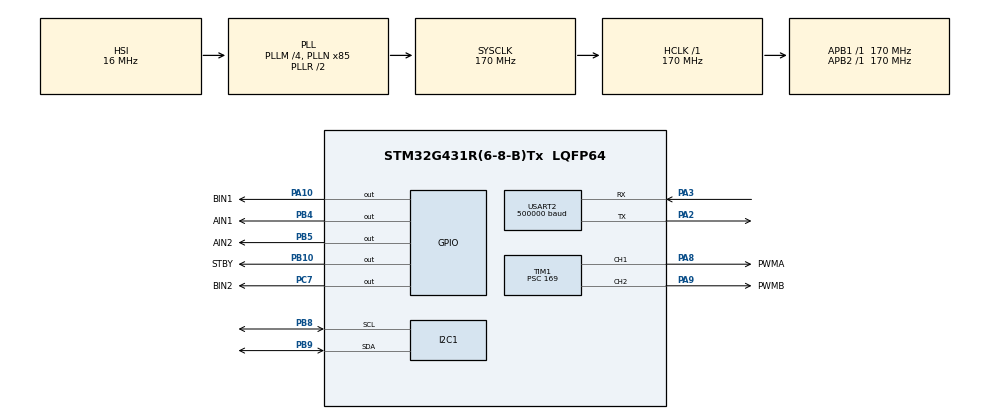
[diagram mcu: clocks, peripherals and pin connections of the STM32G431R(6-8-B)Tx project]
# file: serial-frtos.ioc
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CRC.CRCLength=CRC_POLYLENGTH_16B
CRC.DefaultPolynomialUse=DEFAULT_POLYNOMIAL_DISABLE
CRC.GeneratingPolynomial=X15+X2+X0
Dma.I2C1_RX.2.Direction=DMA_PERIPH_TO_MEMORY
Dma.I2C1_RX.2.EventEnable=DISABLE
Dma.I2C1_RX.2.Instance=DMA1_Channel3
Dma.I2C1_RX.2.MemDataAlignment=DMA_MDATAALIGN_BYTE
Dma.I2C1_RX.2.MemInc=DMA_MINC_ENABLE
Dma.I2C1_RX.2.Mode=DMA_NORMAL
Dma.I2C1_RX.2.PeriphDataAlignment=DMA_PDATAALIGN_BYTE
Dma.I2C1_RX.2.PeriphInc=DMA_PINC_DISABLE
Dma.I2C1_RX.2.Polarity=HAL_DMAMUX_REQ_GEN_RISING
Dma.I2C1_RX.2.Priority=DMA_PRIORITY_LOW
Dma.I2C1_RX.2.RequestNumber=1
Dma.I2C1_RX.2.SignalID=NONE
Dma.I2C1_RX.2.SyncEnable=DISABLE
Dma.I2C1_RX.2.SyncPolarity=HAL_DMAMUX_SYNC_NO_EVENT
Dma.I2C1_RX.2.SyncRequestNumber=1
Dma.I2C1_RX.2.SyncSignalID=NONE
Dma.I2C1_TX.3.Direction=DMA_MEMORY_TO_PERIPH
Dma.I2C1_TX.3.EventEnable=DISABLE
Dma.I2C1_TX.3.Instance=DMA1_Channel4
Dma.I2C1_TX.3.MemDataAlignment=DMA_MDATAALIGN_BYTE
Dma.I2C1_TX.3.MemInc=DMA_MINC_ENABLE
Dma.I2C1_TX.3.Mode=DMA_NORMAL
Dma.I2C1_TX.3.PeriphDataAlignment=DMA_PDATAALIGN_BYTE
Dma.I2C1_TX.3.PeriphInc=DMA_PINC_DISABLE
Dma.I2C1_TX.3.Polarity=HAL_DMAMUX_REQ_GEN_RISING
Dma.I2C1_TX.3.Priority=DMA_PRIORITY_LOW
Dma.I2C1_TX.3.RequestNumber=1
Dma.I2C1_TX.3.SignalID=NONE
Dma.I2C1_TX.3.SyncEnable=DISABLE
Dma.I2C1_TX.3.SyncPolarity=HAL_DMAMUX_SYNC_NO_EVENT
Dma.I2C1_TX.3.SyncRequestNumber=1
Dma.I2C1_TX.3.SyncSignalID=NONE
Dma.Request0=USART2_RX
Dma.Request1=USART2_TX
Dma.Request2=I2C1_RX
Dma.Request3=I2C1_TX
Dma.USART2_RX.0.Direction=DMA_PERIPH_TO_MEMORY
Dma.USART2_RX.0.EventEnable=DISABLE
Dma.USART2_RX.0.Instance=DMA1_Channel1
Dma.USART2_RX.0.MemDataAlignment=DMA_MDATAALIGN_BYTE
Dma.USART2_RX.0.MemInc=DMA_MINC_ENABLE
Dma.USART2_RX.0.Mode=DMA_CIRCULAR
Dma.USART2_RX.0.PeriphDataAlignment=DMA_PDATAALIGN_BYTE
Dma.USART2_RX.0.PeriphInc=DMA_PINC_DISABLE
Dma.USART2_RX.0.Polarity=HAL_DMAMUX_REQ_GEN_RISING
Dma.USART2_RX.0.Priority=DMA_PRIORITY_LOW
Dma.USART2_RX.0.RequestNumber=1
Dma.USART2_RX.0.SignalID=NONE
Dma.USART2_RX.0.SyncEnable=DISABLE
Dma.USART2_RX.0.SyncPolarity=HAL_DMAMUX_SYNC_NO_EVENT
Dma.USART2_RX.0.SyncRequestNumber=1
Dma.USART2_RX.0.SyncSignalID=NONE
Dma.USART2_TX.1.Direction=DMA_MEMORY_TO_PERIPH
Dma.USART2_TX.1.EventEnable=DISABLE
Dma.USART2_TX.1.Instance=DMA1_Channel2
Dma.USART2_TX.1.MemDataAlignment=DMA_MDATAALIGN_BYTE
Dma.USART2_TX.1.MemInc=DMA_MINC_ENABLE
Dma.USART2_TX.1.Mode=DMA_NORMAL
Dma.USART2_TX.1.PeriphDataAlignment=DMA_PDATAALIGN_BYTE
Dma.USART2_TX.1.PeriphInc=DMA_PINC_DISABLE
Dma.USART2_TX.1.Polarity=HAL_DMAMUX_REQ_GEN_RISING
Dma.USART2_TX.1.Priority=DMA_PRIORITY_LOW
Dma.USART2_TX.1.RequestNumber=1
Dma.USART2_TX.1.SignalID=NONE
Dma.USART2_TX.1.SyncEnable=DISABLE
Dma.USART2_TX.1.SyncPolarity=HAL_DMAMUX_SYNC_NO_EVENT
Dma.USART2_TX.1.SyncRequestNumber=1
Dma.USART2_TX.1.SyncSignalID=NONE
FREERTOS.HEAP_NUMBER=1
FREERTOS.Tasks01=defaultTask,24,1024,StartDefaultTask,Default,NULL,Static,defaultTaskBuffer,defaultTaskControlBlock;madgwickTask,40,512,StartMadgwickTask,Default,NULL,Dynamic,NULL,NULL;motorCtrlTask,24,128,StartMotorCtrlTask,Default,NULL,Dynamic,NULL,NULL
FREERTOS.configCHECK_FOR_STACK_OVERFLOW=2
FREERTOS.configENABLE_FPU=1
FREERTOS.configTOTAL_HEAP_SIZE=12288
FREERTOS.configUSE_IDLE_HOOK=1
FREERTOS.configUSE_NEWLIB_REENTRANT=0
FREERTOS.configUSE_STATS_FORMATTING_FUNCTIONS=0
FREERTOS.configUSE_TRACE_FACILITY=1
I2C1.Analog_Filter=I2C_ANALOGFILTER_ENABLE
I2C1.CustomTiming=Disabled
I2C1.I2C_Rise_Time=1000
I2C1.Timing=0x10901E24
Mcu.Family=STM32G4
Mcu.Name=STM32G431R(6-8-B)Tx
Mcu.Package=LQFP64
NUCLEO-G431RB.BUTTON=1
NUCLEO-G431RB.Bsp_Common_DEMO=true
NUCLEO-G431RB.LD1=true
NUCLEO-G431RB.VCP=false
NVIC.DMA1_Channel1_IRQn=true\:5\:0\:false\:false\:true\:true\:false\:true\:true
NVIC.DMA1_Channel2_IRQn=true\:5\:0\:false\:false\:true\:true\:false\:true\:true
NVIC.DMA1_Channel3_IRQn=true\:5\:0\:false\:false\:true\:true\:false\:true\:true
NVIC.DMA1_Channel4_IRQn=true\:5\:0\:false\:false\:true\:true\:false\:true\:true
NVIC.EXTI15_10_IRQn=true\:5\:0\:false\:false\:true\:true\:false\:true\:true
NVIC.I2C1_ER_IRQn=true\:5\:0\:false\:false\:true\:true\:true\:true\:true
NVIC.I2C1_EV_IRQn=true\:5\:0\:false\:false\:true\:true\:true\:true\:true
NVIC.PriorityGroup=NVIC_PRIORITYGROUP_4
NVIC.TIM3_IRQn=true\:5\:0\:false\:false\:true\:true\:true\:true\:true
NVIC.TIM6_DAC_IRQn=true\:0\:0\:true\:false\:true\:false\:false\:true\:true
NVIC.TimeBase=TIM6_DAC_IRQn
NVIC.TimeBaseIP=TIM6
NVIC.USART2_IRQn=true\:5\:0\:false\:false\:true\:true\:true\:true\:true
PA10.GPIO_Label=BIN1
PA10.PinState=GPIO_PIN_RESET
PA10.Signal=GPIO_Output
PA13.GPIO_Label=T_SWDIO
PA13.Mode=Serial_Wire
PA13.Signal=SYS_JTMS-SWDIO
PA14.GPIO_Label=T_SWCLK
PA14.Mode=Serial_Wire
PA14.Signal=SYS_JTCK-SWCLK
PA2.Mode=Asynchronous
PA2.Signal=USART2_TX
PA3.Mode=Asynchronous
PA3.Signal=USART2_RX
PA8.GPIO_Label=PWMA
PA8.Signal=S_TIM1_CH1
PA9.GPIO_Label=PWMB
PA9.Signal=S_TIM1_CH2
PB10.GPIO_Label=STBY
PB10.PinState=GPIO_PIN_SET
PB10.Signal=GPIO_Output
PB3.GPIO_Label=T_SWO
PB3.Signal=SYS_JTDO-SWO
PB4.GPIO_Label=AIN1
PB4.Signal=GPIO_Output
PB5.GPIO_Label=AIN2
PB5.Signal=GPIO_Output
PB8-BOOT0.GPIO_Mode=GPIO_MODE_AF_OD
PB8-BOOT0.GPIO_Pu=GPIO_NOPULL
PB8-BOOT0.GPIO_Speed=GPIO_SPEED_FREQ_HIGH
PB8-BOOT0.Mode=I2C
PB8-BOOT0.Signal=I2C1_SCL
PB9.GPIO_Pu=GPIO_NOPULL
PB9.GPIO_Speed=GPIO_SPEED_FREQ_HIGH
PB9.Mode=I2C
PB9.Signal=I2C1_SDA
PC14-OSC32_IN.GPIO_Label=RCC_OSC32_OUT
PC14-OSC32_IN.Signal=RCC_OSC32_IN
PC15-OSC32_OUT.GPIO_Label=RCC_OSC32_OUT
PC15-OSC32_OUT.Signal=RCC_OSC32_OUT
PC7.GPIO_Label=BIN2
PC7.Signal=GPIO_Output
PF0-OSC_IN.GPIO_Label=RCC_OSC_IN
PF0-OSC_IN.Signal=RCC_OSC_IN
PF1-OSC_OUT.GPIO_Label=RCC_OSC_OUT
PF1-OSC_OUT.Signal=RCC_OSC_OUT
ProjectManager.HeapSize=0x200
ProjectManager.StackSize=0x400
ProjectManager.TargetToolchain=CMake
RCC.ADC12Freq_Value=170000000
RCC.AHBFreq_Value=170000000
RCC.APB1Freq_Value=170000000
RCC.APB1TimFreq_Value=170000000
RCC.APB2Freq_Value=170000000
RCC.APB2TimFreq_Value=170000000
RCC.CK48CLockSelection=RCC_USBCLKSOURCE_HSI48
RCC.CortexFreq_Value=170000000
RCC.EXTERNAL_CLOCK_VALUE=12288000
RCC.HCLKFreq_Value=170000000
RCC.HSE_VALUE=8000000
RCC.HSI48_VALUE=48000000
RCC.HSI_VALUE=16000000
RCC.I2C1CLockSelection=RCC_I2C1CLKSOURCE_HSI
RCC.LSE_VALUE=32768
RCC.PLLM=RCC_PLLM_DIV4
RCC.PLLN=85
RCC.RTCClockSelection=RCC_RTCCLKSOURCE_LSE
RCC.SYSCLKFreq_VALUE=170000000
RCC.SYSCLKSource=RCC_SYSCLKSOURCE_PLLCLK
RCC.USART2CLockSelection=RCC_USART2CLKSOURCE_SYSCLK
RCC.USBFreq_Value=48000000
RCC.VCOOutputFreq_Value=340000000
SH.S_TIM1_CH1.0=TIM1_CH1,PWM Generation1 CH1
SH.S_TIM1_CH2.0=TIM1_CH2,PWM Generation2 CH2
TIM1.AutomaticOutput=TIM_AUTOMATICOUTPUT_ENABLE
TIM1.Channel-PWM\ Generation1\ CH1=TIM_CHANNEL_1
TIM1.Channel-PWM\ Generation2\ CH2=TIM_CHANNEL_2
TIM1.PeriodNoDither=99
TIM1.Prescaler=169
TIM3.PeriodNoDither=961
TIM3.Prescaler=1699
USART2.BaudRate=500000
USART2.VirtualMode-Asynchronous=VM_ASYNC
VP_CORDIC_VS_CORDIC.Mode=CORDIC_Activate
VP_CRC_VS_CRC.Mode=CRC_Activate
VP_FREERTOS_VS_CMSIS_V2.Mode=CMSIS_V2
VP_NUCLEO-G431RB_VS_BSP_COMMON.Mode=COMMON
VP_SYS_VS_DBSignals.Mode=DisableDeadBatterySignals
VP_SYS_VS_tim6.Mode=TIM6
VP_TIM1_VS_ClockSourceINT.Mode=Internal
VP_TIM3_VS_ClockSourceINT.Mode=Internal
board=NUCLEO-G431RB

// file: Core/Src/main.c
/* USER CODE BEGIN Header */
/**
  ******************************************************************************
  * @file           : main.c
  * @brief          : Main program body
  ******************************************************************************
  * @attention
  *
  * Copyright (c) 2026 STMicroelectronics.
  * All rights reserved.
  *
  * This software is licensed under terms that can be found in the LICENSE file
  * in the root directory of this software component.
  * If no LICENSE file comes with this software, it is provided AS-IS.
  *
  ******************************************************************************
  */
/* USER CODE END Header */
#include "main.h"
#include "cmsis_os.h"
#include "cordic.h"
#include "crc.h"
#include "dma.h"
#include "i2c.h"
#include "tim.h"
#include "usart.h"
#include "gpio.h"

/* USER CODE BEGIN Includes */
#include "IMUinfo.h"
/* USER CODE END Includes */

/* USER CODE BEGIN PD */
#define SERIAL_RX_BUF_SIZE 64
/* USER CODE END PD */

__IO uint32_t BspButtonState = BUTTON_RELEASED;

/* USER CODE BEGIN PV */
uint8_t imu_buf[12]; // 6 bytes for Gyro, 6 for Accel
uint8_t mag_buf[6];  // 6 bytes for Mag
volatile uint8_t mag_pending = 0;
extern osThreadId_t madgwickTaskHandle; // IMU data callback - from app_freertos.c
extern osThreadId_t motorCtrlTaskHandle; // Motor control task handle - from app_freertos.c
extern uint8_t motor_rx_buf[SERIAL_RX_BUF_SIZE]; // UART reception buffer for motor control commands - from app_freertos.c
/* USER CODE END PV */

void SystemClock_Config(void);
void MX_FREERTOS_Init(void);

int main(void)
{

  /* MCU Configuration--------------------------------------------------------*/

  /* Reset of all peripherals, Initializes the Flash interface and the Systick. */
  HAL_Init();

  /* Configure the system clock */
  SystemClock_Config();

  /* Initialize all configured peripherals */
  MX_GPIO_Init();
  MX_DMA_Init();
  MX_TIM1_Init();
  MX_USART2_UART_Init();
  MX_CORDIC_Init();
  MX_CRC_Init();
  MX_I2C1_Init();
  MX_TIM3_Init();
  /* USER CODE BEGIN 2 */
  // testing code below
  //uncommend the line below to restore non-testing code
  // HAL_TIM_Base_Start_IT(&htim3); // Start timer for periodic sensor reading (IMU) task
  HAL_UARTEx_ReceiveToIdle_DMA(&huart2, motor_rx_buf, SERIAL_RX_BUF_SIZE); // Start UART DMA reception for motor control commands
  __HAL_DMA_DISABLE_IT(huart2.hdmarx, DMA_IT_HT); // Disable half-transfer
  /* USER CODE END 2 */

  /* Init scheduler */
  osKernelInitialize();  /* Call init function for freertos objects (in cmsis_os2.c) */
  MX_FREERTOS_Init();

  /* Initialize leds */
  BSP_LED_Init(LED_GREEN);

  /* Initialize USER push-button, will be used to trigger an interrupt each time it's pressed.*/
  BSP_PB_Init(BUTTON_USER, BUTTON_MODE_EXTI);

  /* USER CODE BEGIN BSP */

  /* -- Sample board code to switch on leds ---- */
  BSP_LED_On(LED_GREEN);

  /* USER CODE END BSP */

  /* Start scheduler */
  osKernelStart();

  /* We should never get here as control is now taken by the scheduler */

  /* Infinite loop */
  /* USER CODE BEGIN WHILE */
  while (1)
  {

    /* -- Sample board code for User push-button in interrupt mode ---- */
    if (BspButtonState == BUTTON_PRESSED)
    {
      /* Update button state */
      BspButtonState = BUTTON_RELEASED;
      /* -- Sample board code to toggle leds ---- */
      BSP_LED_Toggle(LED_GREEN);

      /* ..... Perform your action ..... */
    }
    /* USER CODE END WHILE */

  }
}

void SystemClock_Config(void)
{
  RCC_OscInitTypeDef RCC_OscInitStruct = {0};
  RCC_ClkInitTypeDef RCC_ClkInitStruct = {0};

  /** Configure the main internal regulator output voltage
  */
  HAL_PWREx_ControlVoltageScaling(PWR_REGULATOR_VOLTAGE_SCALE1_BOOST);

  /** Initializes the RCC Oscillators according to the specified parameters
  * in the RCC_OscInitTypeDef structure.
  */
  RCC_OscInitStruct.OscillatorType = RCC_OSCILLATORTYPE_HSI;
  RCC_OscInitStruct.HSIState = RCC_HSI_ON;
  RCC_OscInitStruct.HSICalibrationValue = RCC_HSICALIBRATION_DEFAULT;
  RCC_OscInitStruct.PLL.PLLState = RCC_PLL_ON;
  RCC_OscInitStruct.PLL.PLLSource = RCC_PLLSOURCE_HSI;
  RCC_OscInitStruct.PLL.PLLM = RCC_PLLM_DIV4;
  RCC_OscInitStruct.PLL.PLLN = 85;
  RCC_OscInitStruct.PLL.PLLP = RCC_PLLP_DIV2;
  RCC_OscInitStruct.PLL.PLLQ = RCC_PLLQ_DIV2;
  RCC_OscInitStruct.PLL.PLLR = RCC_PLLR_DIV2;
  if (HAL_RCC_OscConfig(&RCC_OscInitStruct) != HAL_OK)
  {
    Error_Handler();
  }

  /** Initializes the CPU, AHB and APB buses clocks
  */
  RCC_ClkInitStruct.ClockType = RCC_CLOCKTYPE_HCLK|RCC_CLOCKTYPE_SYSCLK
                              |RCC_CLOCKTYPE_PCLK1|RCC_CLOCKTYPE_PCLK2;
  RCC_ClkInitStruct.SYSCLKSource = RCC_SYSCLKSOURCE_PLLCLK;
  RCC_ClkInitStruct.AHBCLKDivider = RCC_SYSCLK_DIV1;
  RCC_ClkInitStruct.APB1CLKDivider = RCC_HCLK_DIV1;
  RCC_ClkInitStruct.APB2CLKDivider = RCC_HCLK_DIV1;

  if (HAL_RCC_ClockConfig(&RCC_ClkInitStruct, FLASH_LATENCY_4) != HAL_OK)
  {
    Error_Handler();
  }
}

/* USER CODE BEGIN 4 */
void* __wrap_malloc(size_t size) { return pvPortMalloc(size); }
void __wrap_free(void* ptr) { vPortFree(ptr); }

/**
  * @brief Override the __weak HAL function to wake our Madgwick Task
  */
// Note: Changed from MemRxCplt to MasterRxCplt to match Master_Receive_DMA
void HAL_I2C_MasterRxCpltCallback(I2C_HandleTypeDef *hi2c)
{
  static uint8_t mag_counter = 0;

  if (hi2c->Instance == I2C1)
  {
    BaseType_t xHigherPriorityTaskWoken = pdFALSE;

    //  --- CASE A: IMU Read Finished (12 bytes) ---
    if (hi2c->XferSize == 12) {
        mag_counter++;

        if (mag_counter < 10) {
          xTaskNotifyFromISR(madgwickTaskHandle, DATA_READY_6DOF, eSetValueWithOverwrite, &xHigherPriorityTaskWoken);
        } else {
          mag_counter = 0;
          mag_pending = 1; // Lock the state: we are now doing a Mag read

          // start mag read
          // LIS3MDL_reg (reg addr 0x28) | 0x80 (auto-increment bit set) to read all 6 bytes in one go
          static uint8_t mag_addr_auto = 0x28 | 0x80;
          if (HAL_I2C_Master_Transmit(&hi2c1, LIS3MDL_sADDR, &mag_addr_auto, 1, 10) == HAL_OK) {
              // 2. Start the DMA Receive (Non-blocking)
              // When THIS finishes, this Callback will fire again with hi2c->XferSize == 6
              HAL_I2C_Master_Receive_DMA(&hi2c1, LIS3MDL_sADDR, mag_buf, 6);
          } else {
              mag_pending = 0; // If Transmit fails, reset the lock so we don't hang
              // Still signal 6-DOF update so we don't lose IMU data
              xTaskNotifyFromISR(madgwickTaskHandle, DATA_READY_6DOF, eSetValueWithOverwrite, &xHigherPriorityTaskWoken);
          }
        }
    }
    //  --- CASE B: Magnetometer Read Finished (6 bytes) ---
    else if (hi2c->XferSize == 6) {
      mag_pending = 0; // Unlock the state: Mag read is done
      // Signal 9-DOF and wake task
      xTaskNotifyFromISR(madgwickTaskHandle, DATA_READY_9DOF, eSetValueWithOverwrite, &xHigherPriorityTaskWoken);
    }

    /* Force a context switch if MadgwickTask is higher priority
      than the task the CPU was running when the I2C finished. */
    portYIELD_FROM_ISR(xHigherPriorityTaskWoken);
  }
}

// This triggers automatically when the Address Write finishes
void HAL_I2C_MasterTxCpltCallback(I2C_HandleTypeDef *hi2c) {
    if (hi2c->Instance == I2C1) {
        // Start reading 12 bytes: Accel (6) + Gyro (6)
        HAL_I2C_Master_Receive_DMA(hi2c, LSM6DSOX_sADDR, imu_buf, 12);
    }
}

// this is called when the UART line goes IDLE (end of packet)
void HAL_UARTEx_RxEventCallback(UART_HandleTypeDef *huart, uint16_t Size) {
  static uint16_t old_pos = 0;
    if (huart->Instance == USART2) {
        // Process the received command in uart_rx_buf here
        // Size parameter tells you how many bytes were received before the IDLE event
        // You can parse commands and set motor speeds accordingly
      // Notify the Motor Task that data is ready
      BaseType_t xHigherPriorityTaskWoken = pdFALSE;

      // pass the size (num of Bytes) as the notification value
      xTaskNotifyFromISR((TaskHandle_t)motorCtrlTaskHandle,
                           (uint32_t)old_pos,
                           eSetValueWithOverwrite,
                           &xHigherPriorityTaskWoken);

      old_pos = Size; // store current position for next time
      // context switch if needed so the Motor Task runs immediately
      portYIELD_FROM_ISR(xHigherPriorityTaskWoken);
    }
}

/* USER CODE END 4 */

void HAL_TIM_PeriodElapsedCallback(TIM_HandleTypeDef *htim)
{
  if (htim->Instance == TIM6)
  {
    HAL_IncTick();
  }
  /* USER CODE BEGIN Callback 1 */
  // Add your IMU Trigger logic here
  if (htim->Instance == TIM3)
  {
    // Only trigger if a Magnetometer read isn't currently hogging the bus
    if (!mag_pending) {
      // Start I2C DMA Read at 0x22 (OUTX_L_A) to get Accel (6 bytes) + Gyro (6 bytes)
      // Step 1: Set the pointer with a CLEAN STOP (No Repeated Start)
      // We use a small timeout (10ms) because this is only 1 byte.
      static uint8_t reg_addr = 0x22;
      if (HAL_I2C_Master_Transmit(&hi2c1, LSM6DSOX_sADDR, &reg_addr, 1, 10) == HAL_OK) {
        // Step 2: Now pull the 12 bytes using DMA
        // This is non-blocking. The CPU exits this interrupt immediately.
        if (hi2c1.State != HAL_I2C_STATE_READY) {
          // If you hit this breakpoint, the blocking Transmit didn't reset the state machine
          __BKPT(0);
        }
        HAL_StatusTypeDef statusLSMread = HAL_I2C_Master_Receive_DMA(&hi2c1, LSM6DSOX_sADDR, imu_buf, 12);
        if (statusLSMread != HAL_OK) {
            __BKPT(0); // If it stops here, the DMA failed to start
        }
      }
    }
  }
  /* USER CODE END Callback 1 */
}

/**
  * @brief  BSP Push Button callback
  * @param  Button Specifies the pressed button
  * @retval None
  */
void BSP_PB_Callback(Button_TypeDef Button)
{
  if (Button == BUTTON_USER)
  {
    BspButtonState = BUTTON_PRESSED;
  }
}

void Error_Handler(void)
{
  __disable_irq();
  while (1)
  {
  }
}

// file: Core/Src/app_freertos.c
/* USER CODE BEGIN Header */
/**
  ******************************************************************************
  * File Name          : app_freertos.c
  * Description        : Code for freertos applications
  ******************************************************************************
  * @attention
  *
  * Copyright (c) 2026 STMicroelectronics.
  * All rights reserved.
  *
  * This software is licensed under terms that can be found in the LICENSE file
  * in the root directory of this software component.
  * If no LICENSE file comes with this software, it is provided AS-IS.
  *
  ******************************************************************************
  */
/* USER CODE END Header */

#include "FreeRTOS.h"
#include "task.h"
#include "main.h"
#include "cmsis_os.h"

/* USER CODE BEGIN Includes */
#include <stdio.h>
#include <stddef.h>
#include <stdint.h>
#include <string.h>
#include <math.h>
#include "tim.h"
#include "stm32g4xx_nucleo.h"
#include "MadgwickAHRS.h"
#include "IMUinfo.h"
/* USER CODE END Includes */

typedef StaticTask_t osStaticThreadDef_t;
/* USER CODE BEGIN PTD */
typedef struct __attribute__((packed)) {
  float accel_x, accel_y, accel_z;
  float gyro_x, gyro_y, gyro_z;
  float qw, qx, qy, qz;
} ImuPacket_t;
/* USER CODE END PTD */

/* USER CODE BEGIN PD */
#define MOTOR_MAX_PWM 99
#define SERIAL_RX_BUF_SIZE 64
/* USER CODE END PD */

/* USER CODE BEGIN Variables */
uint8_t motor_rx_buf[SERIAL_RX_BUF_SIZE]; // Buffer for UART reception
extern UART_HandleTypeDef huart2;
extern __IO uint32_t BspButtonState;
extern I2C_HandleTypeDef hi2c1; // Declare the I2C handle defined in i2c.c
extern uint8_t imu_buf[12]; // 6 bytes for Gyro, 6 for Accel
extern uint8_t mag_buf[6];  // 6 bytes for Mag
float gx, gy, gz;
float ax, ay, az;
float mx, my, mz;
volatile int16_t raw_gx, raw_gy, raw_gz;
volatile int16_t raw_ax, raw_ay, raw_az;
volatile int16_t raw_mx, raw_my, raw_mz;
extern volatile float q0, q1, q2, q3; // Quaternion components from Madgwick filter
ImuPacket_t imu_packet;
// size is 40 Bytes + 1 (COBS overhead) + 1 (0x00 delimeter) = 42 Bytes total, well under our 64 Byte UART limit
uint8_t imu_packet_buf[42]; // Buffer to hold the serialized ImuPacket for UART transmission
/* USER CODE END Variables */
/* Definitions for defaultTask */
osThreadId_t defaultTaskHandle;
uint32_t defaultTaskBuffer[ 1024 ];
osStaticThreadDef_t defaultTaskControlBlock;
const osThreadAttr_t defaultTask_attributes = {
  .name = "defaultTask",
  .stack_mem = &defaultTaskBuffer[0],
  .stack_size = sizeof(defaultTaskBuffer),
  .cb_mem = &defaultTaskControlBlock,
  .cb_size = sizeof(defaultTaskControlBlock),
  .priority = (osPriority_t) osPriorityNormal,
};
/* Definitions for madgwickTask */
osThreadId_t madgwickTaskHandle;
const osThreadAttr_t madgwickTask_attributes = {
  .name = "madgwickTask",
  .priority = (osPriority_t) osPriorityHigh,
  .stack_size = 512 * 4
};
/* Definitions for motorCtrlTask */
osThreadId_t motorCtrlTaskHandle;
const osThreadAttr_t motorCtrlTask_attributes = {
  .name = "motorCtrlTask",
  .priority = (osPriority_t) osPriorityNormal,
  .stack_size = 128 * 4
};

/* USER CODE BEGIN FunctionPrototypes */
void Motor_A_Fwd(int);
void Motor_A_Back(int);
void Motor_A_Stop(void);
void Motor_B_Fwd(int);
void Motor_B_Back(int);
void Motor_B_Stop(void);
void Motors_Fwd(int);
void Motors_Back(int);
void Motors_Stop(void);
void print_val_float(char* label, float val);
void print_val(char* label, int16_t val);
void parse_imu_data(uint8_t *imu_buf);
void parse_mag_data(uint8_t *mag_buf);
size_t cobs_encode(const uint8_t *input, size_t length, uint8_t *output);
size_t cobs_decode(const uint8_t *input, uint8_t *output, size_t length);
/* USER CODE END FunctionPrototypes */

void StartDefaultTask(void *argument);
void StartMadgwickTask(void *argument);
void StartMotorCtrlTask(void *argument);

void MX_FREERTOS_Init(void); /* (MISRA C 2004 rule 8.1) */

/* Hook prototypes */
void vApplicationIdleHook(void);
void vApplicationStackOverflowHook(xTaskHandle xTask, signed char *pcTaskName);

/* USER CODE BEGIN 2 */
void vApplicationIdleHook( void )
{
   /* vApplicationIdleHook() will only be called if configUSE_IDLE_HOOK is set
   to 1 in FreeRTOSConfig.h. It will be called on each iteration of the idle
   task. It is essential that code added to this hook function never attempts
   to block in any way (for example, call xQueueReceive() with a block time
   specified, or call vTaskDelay()). If the application makes use of the
   vTaskDelete() API function (as this demo application does) then it is also
   important that vApplicationIdleHook() is permitted to return to its calling
   function, because it is the responsibility of the idle task to clean up
   memory allocated by the kernel to any task that has since been deleted. */
}
/* USER CODE END 2 */

/* USER CODE BEGIN 4 */
void vApplicationStackOverflowHook(xTaskHandle xTask, signed char *pcTaskName)
{
   /* Run time stack overflow checking is performed if
   configCHECK_FOR_STACK_OVERFLOW is defined to 1 or 2. This hook function is
   called if a stack overflow is detected. */
}
/* USER CODE END 4 */

void MX_FREERTOS_Init(void) {

  /* Create the thread(s) */
  /* creation of defaultTask */
  defaultTaskHandle = osThreadNew(StartDefaultTask, NULL, &defaultTask_attributes);

  /* creation of madgwickTask */
  madgwickTaskHandle = osThreadNew(StartMadgwickTask, NULL, &madgwickTask_attributes);

  /* creation of motorCtrlTask */
  motorCtrlTaskHandle = osThreadNew(StartMotorCtrlTask, NULL, &motorCtrlTask_attributes);

}

void StartDefaultTask(void *argument)
{
  /* USER CODE BEGIN StartDefaultTask */

  // 1. Wake LSM6DSOX Accel & Gyro
  // --- LSM6DSOX Initialization (104Hz) ---
  uint8_t lsm_accel_init[] = {0x10, 0x40}; // CTRL1_XL: 104Hz, +/- 2 g
  uint8_t lsm_gyro_init[]  = {0x11, 0x4C}; // CTRL2_G: 104Hz, 2000dps (Better for robots)
  uint8_t lsm_bdu[]        = {0x12, 0x44}; // CTRL3_C: BDU=1, IF_INC=1

  HAL_I2C_Master_Transmit(&hi2c1, LSM6DSOX_sADDR, lsm_accel_init, 2, 100);
  HAL_I2C_Master_Transmit(&hi2c1, LSM6DSOX_sADDR, lsm_gyro_init, 2, 100);
  HAL_I2C_Master_Transmit(&hi2c1, LSM6DSOX_sADDR, lsm_bdu, 2, 100);

  // --- LIS3MDL Initialization (10Hz Ultra-High) ---
  // CTRL_REG1: 0x70 sets OM=11 (Ultra-high X/Y) and DO=100 (10Hz)
  uint8_t mag_reg1[] = {0x20, 0x70};
  // CTRL_REG2: 0x00 sets FS=00 (+/- 4 Gauss)
  uint8_t mag_reg2[] = {0x21, 0x00};
  // CTRL_REG3: 0x00 sets MD=00 (Continuous conversion)
  uint8_t mag_reg3[] = {0x22, 0x00};
  // CTRL_REG4: 0x0C sets OMZ=11 (Ultra-high Z-axis)
  uint8_t mag_reg4[] = {0x23, 0x0C};
  HAL_I2C_Master_Transmit(&hi2c1, LIS3MDL_sADDR, mag_reg1, 2, 100);
  HAL_I2C_Master_Transmit(&hi2c1, LIS3MDL_sADDR, mag_reg2, 2, 100);
  HAL_I2C_Master_Transmit(&hi2c1, LIS3MDL_sADDR, mag_reg3, 2, 100);
  HAL_I2C_Master_Transmit(&hi2c1, LIS3MDL_sADDR, mag_reg4, 2, 100);

  osDelay(100); // Wait for sensors to stabilize

  HAL_StatusTypeDef status = HAL_TIM_Base_Start_IT(&htim3);
  if (status != HAL_OK) {
      __BKPT(0); // If it stops here, the timer failed to start
  }

  // Start PWM on TIM1 channels 1 and 2 to control the motors
  HAL_TIM_PWM_Start(&htim1, TIM_CHANNEL_1);
  HAL_TIM_PWM_Start(&htim1, TIM_CHANNEL_2);
  // Drive STBY pin HIGH to enable the driver
  HAL_GPIO_WritePin(STBY_GPIO_Port, STBY_Pin, GPIO_PIN_SET);

  /* Infinite loop */
  for(;;)
  {
    osDelay(100); // 10Hz loop rate is plenty for testing

    // -- Sample board code for User push-button in interrupt mode ----
    if (BspButtonState == BUTTON_PRESSED)
    {
      // Update button state
      BspButtonState = BUTTON_RELEASED;
      // -- Sample board code to toggle leds ----
      BSP_LED_Toggle(LED_GREEN);

      // ..... Perform your action .....

      // --- MOTOR A & B FORWARD  20% (200/1000) ---
      Motors_Fwd(99);
      osDelay(1000); // Run for 1000ms

      // --- STOP ---
      Motors_Stop();
      osDelay(1000); // Run for 1000ms

      // --- MOTOR A & B REVERSE 10% (100/1000) ---
      //Motors_Back(50);
      //osDelay(1000); // Run for 1000ms

      // --- STOP ---
      //Motors_Stop();
      //osDelay(1000); // Run for 1000ms

      // --- MOTOR A FORWARD & B REVERSE ---
      //Motor_A_Fwd(50);
      //Motor_B_Back(50);
      //osDelay(1000); // Run for 1000ms

      // --- STOP ---
      //Motors_Stop();
    }
    osDelay(1);
  }
  /* USER CODE END StartDefaultTask */
}

void StartMadgwickTask(void *argument)
{
  /* USER CODE BEGIN StartMadgwickTask */

  uint16_t test_counter = 0;
  volatile uint16_t dropped_packet_counter = 0;

  // 1. Initialize local variables
  uint32_t notifyValue = 0;
  float deltat = 1.0f / 104.0f; // Matching our 104Hz ODR
  /* Infinite loop */
  for(;;)
  {
    // Wait for notification and store the value in notifyValue
    xTaskNotifyWait(0, 0xFFFFFFFF, &notifyValue, portMAX_DELAY);

    // 3. Convert raw I2C bytes to floats and run the CORDIC-accelerated filter
    // (insert Madgwick calls and Cordic_InvSqrt here)
    // Assume 'imu_data' and 'mag_data' buffers are filled via DMA
    parse_imu_data(imu_buf);

    // 4. Optionally, only run the Mag update every 10th IMU read to save CPU
    if (notifyValue == DATA_READY_9DOF) {
      // Perform MARG updates here (e.g., heading calculation)
      parse_mag_data(mag_buf);
      MadgwickAHRSupdate(gx, gy, gz, ax, ay, az, mx, my, mz);
    } else {
      // Perform ARG-only updates here (e.g., pitch/roll calculation)
      MadgwickAHRSupdateIMU(gx, gy, gz, ax, ay, az);
    }

    test_counter++;

    // output for testing
    /*
    if (test_counter > 5) {
      test_counter = 0;
      print_val("raw_ax", raw_ax);
      print_val("raw_ay", raw_ay);
      print_val("raw_az", raw_az);
      print_val("raw_gx", raw_gx);
      print_val("raw_gy", raw_gy);
      print_val("raw_gz", raw_gz);
      print_val("raw_mx", raw_mx);
      print_val("raw_my", raw_my);
      print_val("raw_mz", raw_mz);
      HAL_UART_Transmit(&huart2, (uint8_t*)"\n", 2, 10);
    }
    //end of output for testing
    */

    /*
    print_val_float("q0: ", q0);
    print_val_float("q1: ", q1);
    print_val_float("q2: ", q2);
    print_val_float("q3: ", q3);
    HAL_UART_Transmit(&huart2, (uint8_t*)"\r\n", 2, 10);
    */

    // 5. Quaternion is now updated.  Prepare for Serial Bridge.
    //    pack 'q[0,3]' into ROS2 message and/or send over UART for debugging.
    imu_packet.accel_x = ax;
    imu_packet.accel_y = ay;
    imu_packet.accel_z = az;
    imu_packet.gyro_x = gx;
    imu_packet.gyro_y = gy;
    imu_packet.gyro_z = gz;
    imu_packet.qw = q0;
    imu_packet.qx = q1;
    imu_packet.qy = q2;
    imu_packet.qz = q3;

    size_t encoded_length = cobs_encode((uint8_t*)&imu_packet, sizeof(ImuPacket_t), imu_packet_buf);
    // ONLY transmit if the previous DMA transfer is finished
    if (huart2.gState == HAL_UART_STATE_READY) {
      HAL_UART_Transmit_DMA(&huart2, imu_packet_buf, encoded_length);
    } else {
      dropped_packet_counter++;
      // Optional: Log a "Dropped Packet" count for debugging
    }
  }
  /* USER CODE END StartMadgwickTask */
}

void StartMotorCtrlTask(void *argument)
{
  /* USER CODE BEGIN StartMotorCtrlTask */

  float left_cmd = 0.0f;
  float right_cmd = 0.0f;
  uint8_t decoded_buf[16]; // buffer for decoded floats
  uint32_t start_offset = 0;

  /* Infinite loop */
  for(;;)
  {
    // received_size = 0; // reset to 0 so watchdog works / motors stop on a timeout
    // error clearing block
    if (__HAL_UART_GET_FLAG(&huart2, UART_FLAG_ORE)) {
      __HAL_UART_CLEAR_OREFLAG(&huart2);
      __HAL_UART_CLEAR_NEFLAG(&huart2);
      __HAL_UART_CLEAR_FEFLAG(&huart2);

      // Resume DMA immediately
      HAL_UARTEx_ReceiveToIdle_DMA(&huart2, motor_rx_buf, sizeof(motor_rx_buf));
      __HAL_DMA_DISABLE_IT(huart2.hdmarx, DMA_IT_HT);
    }
    // wait for notification and capture the size passed from vTaskNotifyGiveFromISR
    // use 500ms timeout as safety watchdog
    // below is causing error? ulTaskNotifyTake returns the notification count, not the value (the size)
    // received_size = ulTaskNotifyTake(pdTRUE, pdMS_TO_TICKS(500));

    // attempt to fix error of motor response only every 32nd keystroke
    // ulBitsToClearOnEntry, ulBitsToClearOnExit, pulNotificationValue, xTicksToWait

    // if xTaskNotifyWait succeeds, received_size is now guaranteed to be 10 (or whatever Size was)
    // if it fails, that means a timeout happened & received_size is not updated

    if (xTaskNotifyWait(0x00, 0xFFFFFFFF, &start_offset, pdMS_TO_TICKS(500)) == pdPASS) { // We expect 10 bytes: 1 COBS code byte + 8 data bytes + 1 delimiter
      size_t decoded_len = cobs_decode(&motor_rx_buf[start_offset], decoded_buf, 9); // Exclude the delimiter from decoding
      if (decoded_len == 8) { // 2 floats = 8 bytes
        // Unpack: convert bytes to floats
        memcpy(&left_cmd, &decoded_buf[0], 4);
        memcpy(&right_cmd, &decoded_buf[4], 4);

        if (left_cmd > 0) {
          Motor_A_Fwd((int)left_cmd);
        } else if (left_cmd < 0) {
          Motor_A_Back((int)(-left_cmd)); // invert for reverse
        } else {
          Motor_A_Stop();
        }

        if (right_cmd > 0) {
          Motor_B_Fwd((int)right_cmd);
        } else if (right_cmd < 0) {
          Motor_B_Back((int)(-right_cmd)); // invert for reverse
        } else {
          Motor_B_Stop();
        }
      }
    } else {
      // catches received_size == 0 (timeout behavior) and == 1-8 (garbage / noise)
      // if timeout or junk, stop motors
      Motors_Stop();
    }

    __HAL_DMA_DISABLE_IT(huart2.hdmarx, DMA_IT_HT); // Disable half-transfer interrupt to avoid double triggers
  }
  /* USER CODE END StartMotorCtrlTask */
}

/* USER CODE BEGIN Application */

/**
 * @brief Consistent Overhead Byte Stuffing (COBS) Encoding
 * @param input: Pointer to the raw data struct
 * @param length: Size of the raw data (sizeof(ImuPacket_t))
 * @param output: Pointer to the buffer where encoded data + 0x00 will be stored
 * @return size_t: The total length of the encoded packet including the delimiter
 */
size_t cobs_encode(const uint8_t *input, size_t length, uint8_t *output) {
    size_t read_index = 0;
    size_t write_index = 1;
    size_t code_index = 0;
    uint8_t code = 1;

    while (read_index < length) {
        if (input[read_index] == 0) {
            output[code_index] = code;
            code = 1;
            code_index = write_index++;
            read_index++;
        } else {
            output[write_index++] = input[read_index++];
            code++;
            if (code == 0xFF) {
                output[code_index] = code;
                code = 1;
                code_index = write_index++;
            }
        }
    }
    output[code_index] = code;
    output[write_index] = 0x00; // Add the framing delimiter
    return write_index + 1;
}

/**
 * @brief Consistent Overhead Byte Stuffing (COBS) decoding
 * @param input: Pointer to the raw data struct
 * @param output: Pointer to the buffer where encoded data + 0x00 will be stored
 * @param length: Size of the raw data (sizeof(ImuPacket_t))
 * @return size_t: The total length of the encoded packet including the delimiter
 */
size_t cobs_decode(const uint8_t *input, uint8_t *output, size_t length) {
    const uint8_t *start = output;
    while (length > 0)
    {
        uint8_t code = *input++;
        if (code == 0) break; // Should not happen in a valid COBS packet before the end
        length--;

        if (code > length + 1) return 0; // Error: packet is too short for the code provided

        for (uint8_t i = 1; i < code; i++)
        {
            *output++ = *input++;
            length--;
        }

        if (code < 0xFF && length > 0)
        {
            *output++ = 0;
        }
    }
    return (size_t)(output - start);
}

void print_val(char* label, int16_t val) {
    char msg[64];
    char sign = (val >= 0) ? ' ' : '-';
    if (val < 0) val = -val; // Make val positive for printing
    // Standard sprintf (no floats) is much smaller than float-enabled printf
    int len = sprintf(msg, "%s: %c%ld ", label, sign, val);
    HAL_UART_Transmit(&huart2, (uint8_t*)msg, len, 10);
}

void print_val_float(char* label, float val) {
    char msg[32];
    char sign = (val >= 0) ? ' ' : '-';
    if (val < 0) val = -val; // Make val positive for printing
    int32_t whole = (int32_t)val;
    int32_t frac = (int32_t)((val - (float)whole) * 100000.0f + 0.5f); // 5 decimal places, add 0.5f for rounding up

    // Standard sprintf (no floats) is much smaller than float-enabled printf
    int len = sprintf(msg, "%s: %c%ld.%05ld  ", label, sign, whole, frac);
    HAL_UART_Transmit(&huart2, (uint8_t*)msg, len, 10);
}

void parse_imu_data(uint8_t imu_buf[12]) {
  // measured offsets:

  float gx_offset = -0.46944f;
  float gy_offset = 0.52472f;
  float gz_offset = -0.27444f;
  float ax_offset = -0.01726f;
  float ay_offset = -0.04193f;
  float az_offset = -0.00174f;

  // DS12814 Rev 4: Gyro (0x22-0x27) comes BEFORE Accel (0x28-0x2D)
  raw_gx = (int16_t)((imu_buf[1] << 8) | imu_buf[0]);
  raw_gy = (int16_t)((imu_buf[3] << 8) | imu_buf[2]);
  raw_gz = (int16_t)((imu_buf[5] << 8) | imu_buf[4]);
  raw_ax = (int16_t)((imu_buf[7] << 8) | imu_buf[6]);
  raw_ay = (int16_t)((imu_buf[9] << 8) | imu_buf[8]);
  raw_az = (int16_t)((imu_buf[11] << 8) | imu_buf[10]);

  // 3. Conversion to physical units
  // +/- 2000dps: 70 mdps/LSB = 0.070 dps/LSB
  gx = (float)raw_gx * 0.070f - gx_offset;
  gy = (float)raw_gy * 0.070f - gy_offset;
  gz = (float)raw_gz * 0.070f - gz_offset;
  // convert to rad/s for Madgwick filter
  gx *= 0.0174533f; // π/180
  gy *= 0.0174533f; // π/180
  gz *= 0.0174533f; // π/180

  // Convert to g (at ±2g range, sensitivity is 0.061 mg/LSB)
  // +/- 2g: 0.061 mg/LSB = 0.000061 g/LSB
  ax = (float)raw_ax * 0.000061f - ax_offset;
  ay = (float)raw_ay * 0.000061f - ay_offset;
  az = (float)raw_az * 0.000061f - az_offset;
}

void parse_mag_data(uint8_t mag_buf[6]) {
  // measured offsets:
  float mx_offset = -0.03077f;
  float my_offset = -0.12533f;
  float mz_offset = -0.044f;

  raw_mx = (int16_t)((mag_buf[1] << 8) | mag_buf[0]);
  raw_my = (int16_t)((mag_buf[3] << 8) | mag_buf[2]);
  raw_mz = (int16_t)((mag_buf[5] << 8) | mag_buf[4]);
  // Mag (Registers 0x28 to 0x2D)
  // Convert to Gauss (at ±4 Gauss range, sensitivity is 6842 LSB/Gauss)
  mx = (float)raw_mx / 6842.0f - mx_offset;
  my = (float)raw_my / 6842.0f - my_offset;
  mz = (float)raw_mz / 6842.0f - mz_offset;
}

void Motor_A_Fwd(int speed)
{
	if ((speed > MOTOR_MAX_PWM) | (speed < 0))
	{
		return;
	}
	HAL_GPIO_WritePin(AIN1_GPIO_Port, AIN1_Pin, GPIO_PIN_RESET); // AIN1 LOW
  HAL_GPIO_WritePin(AIN2_GPIO_Port, AIN2_Pin, GPIO_PIN_SET);   // AIN2 HIGH
  htim1.Instance->CCR1 = speed; // Direct register access for faster updates
}

void Motor_A_Back(int speed)
{
	if ((speed > MOTOR_MAX_PWM) | (speed < 0))
	{
		return;
	}
	HAL_GPIO_WritePin(AIN1_GPIO_Port, AIN1_Pin, GPIO_PIN_SET); // AIN1 HIGH
	HAL_GPIO_WritePin(AIN2_GPIO_Port, AIN2_Pin, GPIO_PIN_RESET);   // AIN2 LOW
	__HAL_TIM_SET_COMPARE(&htim1, TIM_CHANNEL_1, speed);    // % speed (speed/MOTOR_MAX_PWM)
}

void Motor_A_Stop(void)
{
	HAL_GPIO_WritePin(AIN1_GPIO_Port, AIN1_Pin, GPIO_PIN_RESET);
  HAL_GPIO_WritePin(AIN2_GPIO_Port, AIN2_Pin, GPIO_PIN_RESET);

  htim1.Instance->CCR1 = 0; // Ensure PWM duty cycle is also set to 0
}

void Motor_B_Fwd(int speed)
{
	if ((speed > MOTOR_MAX_PWM) | (speed < 0))
	{
		return;
	}
	HAL_GPIO_WritePin(BIN1_GPIO_Port, BIN1_Pin, GPIO_PIN_RESET); // BIN1 LOW
	HAL_GPIO_WritePin(BIN2_GPIO_Port, BIN2_Pin, GPIO_PIN_SET);   // BIN2 HIGH
	htim1.Instance->CCR2 = speed; // Direct register access for faster updates
}

void Motor_B_Back(int speed)
{
	if ((speed > MOTOR_MAX_PWM) | (speed < 0))
	{
		return;
	}
	HAL_GPIO_WritePin(BIN1_GPIO_Port, BIN1_Pin, GPIO_PIN_SET); // BIN1 HIGH
	HAL_GPIO_WritePin(BIN2_GPIO_Port, BIN2_Pin, GPIO_PIN_RESET);   // BIN2 LOW
	__HAL_TIM_SET_COMPARE(&htim1, TIM_CHANNEL_2, speed);    // % speed (speed/MOTOR_MAX_PWM)
}

void Motor_B_Stop(void)
{
  HAL_GPIO_WritePin(BIN1_GPIO_Port, BIN1_Pin, GPIO_PIN_RESET);
  HAL_GPIO_WritePin(BIN2_GPIO_Port, BIN2_Pin, GPIO_PIN_RESET);

  htim1.Instance->CCR2 = 0; // Ensure PWM duty cycle is also set to 0
}

void Motors_Fwd(int speed)
{
	Motor_A_Fwd(speed);
	Motor_B_Fwd(speed);
}

void Motors_Back(int speed)
{
	Motor_A_Back(speed);
	Motor_B_Back(speed);
}

void Motors_Stop(void)
{
	Motor_A_Stop();
	Motor_B_Stop();
}
/* USER CODE END Application */
